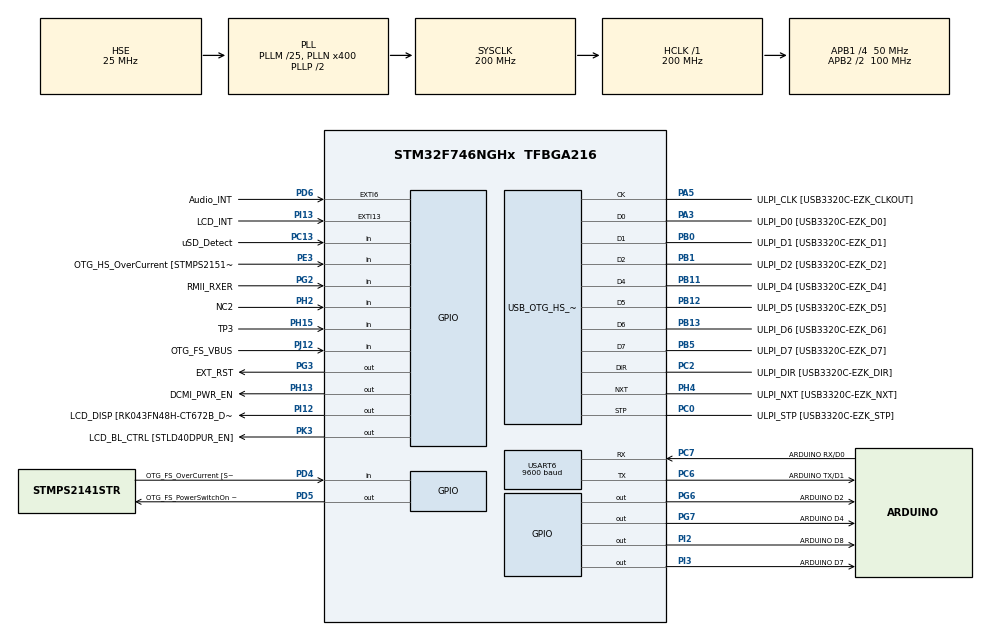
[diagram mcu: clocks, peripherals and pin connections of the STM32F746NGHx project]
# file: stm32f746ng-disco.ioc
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Mcu.Family=STM32F7
Mcu.Name=STM32F746NGHx
Mcu.Package=TFBGA216
NVIC.PriorityGroup=NVIC_PRIORITYGROUP_4
NVIC.TIM3_IRQn=true\:0\:0\:false\:false\:true\:true\:true\:true
NVIC.USART6_IRQn=true\:0\:0\:false\:false\:true\:true\:true\:true
PA0/WKUP.GPIO_Label=ARDUINO A0
PA0/WKUP.GPIO_Mode=GPIO_MODE_ANALOG
PA0/WKUP.GPIO_PuPd=GPIO_NOPULL
PA0/WKUP.Signal=ADCx_IN0
PA1.GPIO_Label=RMII_REF_CLK [LAN8742A-CZ-TR_REFCLK0]
PA1.Signal=ETH_REF_CLK
PA10.GPIO_Label=OTG_FS_ID
PA10.Signal=USB_OTG_FS_ID
PA11.GPIO_Label=OTG_FS_N
PA11.Signal=USB_OTG_FS_DM
PA12.GPIO_Label=OTG_FS_P
PA12.Signal=USB_OTG_FS_DP
PA13.GPIO_Label=SWDIO
PA13.Mode=Serial_Wire
PA13.Signal=SYS_JTMS-SWDIO
PA14.GPIO_Label=SWCLK
PA14.Mode=Serial_Wire
PA14.Signal=SYS_JTCK-SWCLK
PA15.GPIO_Label=ARDUINO PWM/D9
PA15.GPIO_ModeDefaultPP=GPIO_MODE_AF_PP
PA15.GPIO_PuPd=GPIO_NOPULL
PA15.GPIO_Speed=GPIO_SPEED_FREQ_LOW
PA15.Signal=S_TIM2_CH1_ETR
PA2.GPIO_Label=RMII_MDIO [LAN8742A-CZ-TR_MDIO]
PA2.Signal=ETH_MDIO
PA3.GPIO_Label=ULPI_D0 [USB3320C-EZK_D0]
PA3.Mode=Host_HS
PA3.Signal=USB_OTG_HS_ULPI_D0
PA4.GPIO_Label=DCMI_HSYNC
PA4.Signal=DCMI_HSYNC
PA5.GPIO_Label=ULPI_CLK [USB3320C-EZK_CLKOUT]
PA5.Mode=Host_HS
PA5.Signal=USB_OTG_HS_ULPI_CK
PA6.Signal=DCMI_PIXCLK
PA7.GPIO_Label=RMII_CRS_DV [LAN8742A-CZ-TR_CRS_DV]
PA7.Signal=ETH_CRS_DV
PA8.GPIO_Label=ARDUINO PWM/D10
PA8.GPIO_ModeDefaultPP=GPIO_MODE_AF_PP
PA8.GPIO_PuPd=GPIO_NOPULL
PA8.GPIO_Speed=GPIO_SPEED_FREQ_LOW
PA8.Signal=S_TIM1_CH1
PA9.GPIO_Label=VCP_TX [STM32F103CBT6_PA3]
PA9.GPIO_Mode=GPIO_MODE_AF_PP
PA9.GPIO_PuPd=GPIO_NOPULL
PA9.GPIO_Speed=GPIO_SPEED_FREQ_LOW
PA9.Signal=USART1_TX
PB0.GPIO_Label=ULPI_D1 [USB3320C-EZK_D1]
PB0.Mode=Host_HS
PB0.Signal=USB_OTG_HS_ULPI_D1
PB1.GPIO_Label=ULPI_D2 [USB3320C-EZK_D2]
PB1.Mode=Host_HS
PB1.Signal=USB_OTG_HS_ULPI_D2
PB10.GPIO_Label=ULPI_D3 [USB3320C-EZK_D3]
PB10.Signal=USB_OTG_HS_ULPI_D3
PB11.GPIO_Label=ULPI_D4 [USB3320C-EZK_D4]
PB11.Mode=Host_HS
PB11.Signal=USB_OTG_HS_ULPI_D4
PB12.GPIO_Label=ULPI_D5 [USB3320C-EZK_D5]
PB12.Mode=Host_HS
PB12.Signal=USB_OTG_HS_ULPI_D5
PB13.GPIO_Label=ULPI_D6 [USB3320C-EZK_D6]
PB13.Mode=Host_HS
PB13.Signal=USB_OTG_HS_ULPI_D6
PB14.GPIO_Label=ARDUINO MISO/D12
PB14.GPIO_Mode=GPIO_MODE_AF_PP
PB14.GPIO_PuPd=GPIO_NOPULL
PB14.GPIO_Speed=GPIO_SPEED_FREQ_LOW
PB14.Signal=SPI2_MISO
PB15.GPIO_Label=ARDUINO MOSI/PWM/D11
PB15.GPIO_Mode=GPIO_MODE_AF_PP
PB15.GPIO_PuPd=GPIO_NOPULL
PB15.GPIO_Speed=GPIO_SPEED_FREQ_LOW
PB15.Signal=SPI2_MOSI
PB2.Signal=QUADSPI_CLK
PB3.GPIO_Label=SWO
PB3.Signal=SYS_JTDO-SWO
PB4.GPIO_Label=ARDUINO PWM/D3
PB4.GPIO_ModeDefaultPP=GPIO_MODE_AF_PP
PB4.GPIO_PuPd=GPIO_NOPULL
PB4.GPIO_Speed=GPIO_SPEED_FREQ_LOW
PB4.Signal=S_TIM3_CH1
PB5.GPIO_Label=ULPI_D7 [USB3320C-EZK_D7]
PB5.Mode=Host_HS
PB5.Signal=USB_OTG_HS_ULPI_D7
PB6.GPIO_Label=QSPI_NCS [N25Q128A13EF840E_S]
PB6.Signal=QUADSPI_BK1_NCS
PB7.GPIO_Label=VCP_RX [STM32F103CBT6_PA2]
PB7.GPIO_Mode=GPIO_MODE_AF_PP
PB7.GPIO_PuPd=GPIO_NOPULL
PB7.GPIO_Speed=GPIO_SPEED_FREQ_LOW
PB7.Signal=USART1_RX
PB8.GPIO_Label=ARDUINO SCL/D15
PB8.GPIO_Mode=GPIO_MODE_AF_OD
PB8.GPIO_Pu=GPIO_PULLUP
PB8.GPIO_PuPd=GPIO_NOPULL
PB8.GPIO_Speed=GPIO_SPEED_FREQ_LOW
PB8.Signal=I2C1_SCL
PB9.GPIO_Label=ARDUINO SDA/D14
PB9.GPIO_Mode=GPIO_MODE_AF_OD
PB9.GPIO_Pu=GPIO_PULLUP
PB9.GPIO_PuPd=GPIO_NOPULL
PB9.GPIO_Speed=GPIO_SPEED_FREQ_LOW
PB9.Signal=I2C1_SDA
PC0.GPIO_Label=ULPI_STP [USB3320C-EZK_STP]
PC0.Mode=Host_HS
PC0.Signal=USB_OTG_HS_ULPI_STP
PC1.GPIO_Label=RMII_MDC [LAN8742A-CZ-TR_MDC]
PC1.Signal=ETH_MDC
PC10.GPIO_Label=SDMMC_D2
PC10.Signal=SDMMC1_D2
PC11.GPIO_Label=SDMMC_D3
PC11.Signal=SDMMC1_D3
PC12.GPIO_Label=SDMMC_CK
PC12.Signal=SDMMC1_CK
PC13.GPIO_Label=uSD_Detect
PC13.Signal=GPIO_Input
PC14/OSC32_IN.GPIO_Label=RCC_OSC32_IN
PC14/OSC32_IN.Mode=LSE-External-Oscillator
PC14/OSC32_IN.Signal=RCC_OSC32_IN
PC15/OSC32_OUT.GPIO_Label=RCC_OSC32_OUT
PC15/OSC32_OUT.Mode=LSE-External-Oscillator
PC15/OSC32_OUT.Signal=RCC_OSC32_OUT
PC2.GPIO_Label=ULPI_DIR [USB3320C-EZK_DIR]
PC2.Mode=Host_HS
PC2.Signal=USB_OTG_HS_ULPI_DIR
PC3.GPIO_Label=FMC_SDCKE0 [MT48LC4M32B2B5-6A_CKE]
PC3.Signal=FMC_SDCKE0
PC4.GPIO_Label=RMII_RXD0 [LAN8742A-CZ-TR_RXD0]
PC4.Signal=ETH_RXD0
PC5.GPIO_Label=RMII_RXD1 [LAN8742A-CZ-TR_RXD1]
PC5.Signal=ETH_RXD1
PC6.GPIO_Label=ARDUINO TX/D1
PC6.Mode=Asynchronous
PC6.Signal=USART6_TX
PC7.GPIO_Label=ARDUINO RX/D0
PC7.Mode=Asynchronous
PC7.Signal=USART6_RX
PC8.Signal=SDMMC1_D0
PC9.Signal=SDMMC1_D1
PD0.GPIO_Label=FMC_D2 [MT48LC4M32B2B5-6A_DQ2]
PD0.Signal=FMC_D2_DA2
PD1.GPIO_Label=FMC_D3 [MT48LC4M32B2B5-6A_DQ3]
PD1.Signal=FMC_D3_DA3
PD10.GPIO_Label=FMC_D15 [MT48LC4M32B2B5-6A_DQ15]
PD10.Signal=FMC_D15_DA15
PD11.GPIO_Label=QSPI_D0 [N25Q128A13EF840E_DQ0]
PD11.Signal=QUADSPI_BK1_IO0
PD12.GPIO_Label=QSPI_D1 [N25Q128A13EF840E_DQ1]
PD12.Signal=QUADSPI_BK1_IO1
PD13.GPIO_Label=QSPI_D3 [N25Q128A13EF840E_DQ3]
PD13.Signal=QUADSPI_BK1_IO3
PD14.GPIO_Label=FMC_D0 [MT48LC4M32B2B5-6A_DQ0]
PD14.Signal=FMC_D0_DA0
PD15.GPIO_Label=FMC_D1 [MT48LC4M32B2B5-6A_DQ1]
PD15.Signal=FMC_D1_DA1
PD2.GPIO_Label=SDMMC_CMD
PD2.Signal=SDMMC1_CMD
PD3.GPIO_Label=DCMI_D5
PD3.Signal=DCMI_D5
PD4.GPIO_Label=OTG_FS_OverCurrent [STMPS2141STR_Fault]
PD4.Signal=GPIO_Input
PD5.GPIO_Label=OTG_FS_PowerSwitchOn [STMPS2141STR_EN]
PD5.PinState=GPIO_PIN_SET
PD5.Signal=GPIO_Output
PD6.GPIO_Label=Audio_INT
PD6.GPIO_ModeDefaultEXTI=GPIO_MODE_EVT_RISING
PD6.Signal=GPXTI6
PD7.GPIO_Label=SPDIF_RX0 [74LVC1G04SE_4]
PD7.Signal=SPDIFRX_IN0
PD8.GPIO_Label=FMC_D13 [MT48LC4M32B2B5-6A_DQ13]
PD8.Signal=FMC_D13_DA13
PD9.GPIO_Label=FMC_D14 [MT48LC4M32B2B5-6A_DQ14]
PD9.Signal=FMC_D14_DA14
PE0.GPIO_Label=FMC_NBL0 [MT48LC4M32B2B5-6A_DQM0]
PE0.Signal=FMC_NBL0
PE1.GPIO_Label=FMC_NBL1 [MT48LC4M32B2B5-6A_DQM1]
PE1.Signal=FMC_NBL1
PE10.GPIO_Label=FMC_D7 [MT48LC4M32B2B5-6A_DQ7]
PE10.Signal=FMC_D7_DA7
PE11.GPIO_Label=FMC_D8 [MT48LC4M32B2B5-6A_DQ8]
PE11.Signal=FMC_D8_DA8
PE12.GPIO_Label=FMC_D9 [MT48LC4M32B2B5-6A_DQ9]
PE12.Signal=FMC_D9_DA9
PE13.GPIO_Label=FMC_D10 [MT48LC4M32B2B5-6A_DQ10]
PE13.Signal=FMC_D10_DA10
PE14.GPIO_Label=FMC_D11 [MT48LC4M32B2B5-6A_DQ11]
PE14.Signal=FMC_D11_DA11
PE15.GPIO_Label=FMC_D12 [MT48LC4M32B2B5-6A_DQ12]
PE15.Signal=FMC_D12_DA12
PE2.GPIO_Label=QSPI_D2 [N25Q128A13EF840E_DQ2]
PE2.Signal=QUADSPI_BK1_IO2
PE3.GPIO_Label=OTG_HS_OverCurrent [STMPS2151STR_FAULT]
PE3.Signal=GPIO_Input
PE4.GPIO_Label=LCD_B0 [RK043FN48H-CT672B_B0]
PE4.Signal=LTDC_B0
PE5.GPIO_Label=DCMI_D6
PE5.Signal=DCMI_D6
PE6.GPIO_Label=DCMI_D7
PE6.Signal=DCMI_D7
PE7.GPIO_Label=FMC_D4 [MT48LC4M32B2B5-6A_DQ4]
PE7.Signal=FMC_D4_DA4
PE8.GPIO_Label=FMC_D5 [MT48LC4M32B2B5-6A_DQ5]
PE8.Signal=FMC_D5_DA5
PE9.GPIO_Label=FMC_D6 [MT48LC4M32B2B5-6A_DQ6]
PE9.Signal=FMC_D6_DA6
PF0.GPIO_Label=FMC_A0 [MT48LC4M32B2B5-6A_A0]
PF0.Signal=FMC_A0
PF1.GPIO_Label=FMC_A1 [MT48LC4M32B2B5-6A_A1]
PF1.Signal=FMC_A1
PF10.GPIO_Label=ARDUINO A1
PF10.GPIO_Mode=GPIO_MODE_ANALOG
PF10.GPIO_PuPd=GPIO_NOPULL
PF10.Signal=ADC3_IN8
PF11.GPIO_Label=FMC_SDNRAS [MT48LC4M32B2B5-6A_RAS]
PF11.Signal=FMC_SDNRAS
PF12.GPIO_Label=FMC_A6 [MT48LC4M32B2B5-6A_A6]
PF12.Signal=FMC_A6
PF13.GPIO_Label=FMC_A7 [MT48LC4M32B2B5-6A_A7]
PF13.Signal=FMC_A7
PF14.GPIO_Label=FMC_A8 [MT48LC4M32B2B5-6A_A8]
PF14.Signal=FMC_A8
PF15.GPIO_Label=FMC_A9 [MT48LC4M32B2B5-6A_A9]
PF15.Signal=FMC_A9
PF2.GPIO_Label=FMC_A2 [MT48LC4M32B2B5-6A_A2]
PF2.Signal=FMC_A2
PF3.GPIO_Label=FMC_A3 [MT48LC4M32B2B5-6A_A3]
PF3.Signal=FMC_A3
PF4.GPIO_Label=FMC_A4 [MT48LC4M32B2B5-6A_A4]
PF4.Signal=FMC_A4
PF5.GPIO_Label=FMC_A5 [MT48LC4M32B2B5-6A_A5]
PF5.Signal=FMC_A5
PF6.GPIO_Label=ARDUINO A5
PF6.GPIO_Mode=GPIO_MODE_ANALOG
PF6.GPIO_PuPd=GPIO_NOPULL
PF6.Signal=ADC3_IN4
PF7.GPIO_Label=ARDUINO A4
PF7.GPIO_Mode=GPIO_MODE_ANALOG
PF7.GPIO_PuPd=GPIO_NOPULL
PF7.Signal=ADC3_IN5
PF8.GPIO_Label=ARDUINO A3
PF8.GPIO_Mode=GPIO_MODE_ANALOG
PF8.GPIO_PuPd=GPIO_NOPULL
PF8.Signal=ADC3_IN6
PF9.GPIO_Label=ARDUINO A2
PF9.GPIO_Mode=GPIO_MODE_ANALOG
PF9.GPIO_PuPd=GPIO_NOPULL
PF9.Signal=ADC3_IN7
PG0.GPIO_Label=FMC_A10 [MT48LC4M32B2B5-6A_A10]
PG0.Signal=FMC_A10
PG1.GPIO_Label=FMC_A11 [MT48LC4M32B2B5-6A_A11]
PG1.Signal=FMC_A11
PG10.GPIO_Label=SAI2_SDB [WM8994ECS/R_ADCDAT1]
PG10.Signal=SAI2_SD_B
PG11.GPIO_Label=RMII_TX_EN [LAN8742A-CZ-TR_TXEN]
PG11.Signal=ETH_TX_EN
PG12.GPIO_Label=LCD_B4 [RK043FN48H-CT672B_B4]
PG12.Signal=LTDC_B4
PG13.GPIO_Label=RMII_TXD0 [LAN8742A-CZ-TR_TXD0]
PG13.Signal=ETH_TXD0
PG14.GPIO_Label=RMII_TXD1 [LAN8742A-CZ-TR_TXD1]
PG14.Signal=ETH_TXD1
PG15.GPIO_Label=FMC_SDNCAS [MT48LC4M32B2B5-6A_CAS]
PG15.Signal=FMC_SDNCAS
PG2.GPIO_Label=RMII_RXER
PG2.Signal=GPIO_Input
PG3.GPIO_Label=EXT_RST
PG3.Signal=GPIO_Output
PG4.GPIO_Label=FMC_BA0 [MT48LC4M32B2B5-6A_BA0]
PG4.Signal=FMC_A14_BA0
PG5.GPIO_Label=FMC_BA1 [MT48LC4M32B2B5-6A_BA1]
PG5.Signal=FMC_A15_BA1
PG6.GPIO_Label=ARDUINO D2
PG6.Signal=GPIO_Output
PG7.GPIO_Label=ARDUINO D4
PG7.Signal=GPIO_Output
PG8.GPIO_Label=FMC_SDCLK [MT48LC4M32B2B5-6A_CLK]
PG8.Signal=FMC_SDCLK
PG9.GPIO_Label=DCMI_VSYNC
PG9.Signal=DCMI_VSYNC
PH0/OSC_IN.GPIO_Label=OSC_25M [NZ2520SB-25.00M_OUT]
PH0/OSC_IN.Mode=HSE-External-Oscillator
PH0/OSC_IN.Signal=RCC_OSC_IN
PH1/OSC_OUT.Mode=HSE-External-Oscillator
PH1/OSC_OUT.Signal=RCC_OSC_OUT
PH10.GPIO_Label=DCMI_D1
PH10.Signal=DCMI_D1
PH11.GPIO_Label=DCMI_D2
PH11.Signal=DCMI_D2
PH12.GPIO_Label=DCMI_D3
PH12.Signal=DCMI_D3
PH13.GPIO_Label=DCMI_PWR_EN
PH13.Signal=GPIO_Output
PH14.GPIO_Label=DCMI_D4
PH14.Signal=DCMI_D4
PH15.GPIO_Label=TP3
PH15.Signal=GPIO_Input
PH2.GPIO_Label=NC2
PH2.Signal=GPIO_Input
PH3.GPIO_Label=FMC_SDNE0 [MT48LC4M32B2B5-6A_CS]
PH3.Signal=FMC_SDNE0
PH4.GPIO_Label=ULPI_NXT [USB3320C-EZK_NXT]
PH4.Mode=Host_HS
PH4.Signal=USB_OTG_HS_ULPI_NXT
PH5.GPIO_Label=FMC_SDNME [MT48LC4M32B2B5-6A_WE]
PH5.Signal=FMC_SDNWE
PH6.GPIO_Label=ARDUINO PWM/D6
PH6.Signal=S_TIM12_CH1
PH7.GPIO_Label=LCD_SCL [RK043FN48H-CT672B_SCL]
PH7.GPIO_Pu=GPIO_PULLUP
PH7.Signal=I2C3_SCL
PH8.GPIO_Label=LCD_SDA [RK043FN48H-CT672B_SDA]
PH8.GPIO_Pu=GPIO_PULLUP
PH8.Signal=I2C3_SDA
PH9.GPIO_Label=DCMI_D0
PH9.Signal=DCMI_D0
PI0.GPIO_Label=ARDUINO PWM/CS/D5
PI0.GPIO_ModeDefaultPP=GPIO_MODE_AF_PP
PI0.GPIO_PuPd=GPIO_NOPULL
PI0.GPIO_Speed=GPIO_SPEED_FREQ_LOW
PI0.Signal=S_TIM5_CH4
PI1.GPIO_Label=ARDUINO SCK/D13
PI1.GPIO_Mode=GPIO_MODE_AF_PP
PI1.GPIO_PuPd=GPIO_NOPULL
PI1.GPIO_Speed=GPIO_SPEED_FREQ_LOW
PI1.Signal=SPI2_SCK
PI10.GPIO_Label=LCD_HSYNC [RK043FN48H-CT672B_HSYNC]
PI10.Signal=LTDC_HSYNC
PI12.GPIO_Label=LCD_DISP [RK043FN48H-CT672B_DISP] 
PI12.PinState=GPIO_PIN_SET
PI12.Signal=GPIO_Output
PI13.GPIO_Label=LCD_INT
PI13.GPIO_ModeDefaultEXTI=GPIO_MODE_EVT_RISING
PI13.Signal=GPXTI13
PI14.GPIO_Label=LCD_CLK [RK043FN48H-CT672B_CLK]
PI14.Signal=LTDC_CLK
PI15.GPIO_Label=LCD_R0 [RK043FN48H-CT672B_R0]
PI15.Signal=LTDC_R0
PI2.GPIO_Label=ARDUINO D8
PI2.Signal=GPIO_Output
PI3.GPIO_Label=ARDUINO D7
PI3.Signal=GPIO_Output
PI4.GPIO_Label=SAI2_MCLKA [WM8994ECS/R_MCLK1]
PI4.Signal=SAI2_MCLK_A
PI5.GPIO_Label=SAI2_SCKA [WM8994ECS/R_BCLK1]
PI5.Signal=SAI2_SCK_A
PI6.GPIO_Label=SAI2_SDA [WM8994ECS/R_DACDAT1]
PI6.Signal=SAI2_SD_A
PI7.GPIO_Label=SAI2_FSA [WM8994ECS/R_LRCLK1]
PI7.Signal=SAI2_FS_A
PI8.GPIO_Label=NC1 [TP2]
PI8.Signal=RTC_TS
PI9.GPIO_Label=LCD_VSYNC [RK043FN48H-CT672B_VSYNC]
PI9.Signal=LTDC_VSYNC
PJ0.GPIO_Label=LCD_R1 [RK043FN48H-CT672B_R1]
PJ0.Signal=LTDC_R1
PJ1.GPIO_Label=LCD_R2 [RK043FN48H-CT672B_R2]
PJ1.Signal=LTDC_R2
PJ10.GPIO_Label=LCD_G3 [RK043FN48H-CT672B_G3]
PJ10.Signal=LTDC_G3
PJ11.GPIO_Label=LCD_G4 [RK043FN48H-CT672B_G4]
PJ11.Signal=LTDC_G4
PJ12.GPIO_Label=OTG_FS_VBUS
PJ12.Signal=GPIO_Input
PJ13.GPIO_Label=LCD_B1 [RK043FN48H-CT672B_B1]
PJ13.Signal=LTDC_B1
PJ14.GPIO_Label=LCD_B2 [RK043FN48H-CT672B_B2]
PJ14.Signal=LTDC_B2
PJ15.GPIO_Label=LCD_B3 [RK043FN48H-CT672B_B3]
PJ15.Signal=LTDC_B3
PJ2.GPIO_Label=LCD_R3 [RK043FN48H-CT672B_R3]
PJ2.Signal=LTDC_R3
PJ3.GPIO_Label=LCD_R4 [RK043FN48H-CT672B_R4]
PJ3.Signal=LTDC_R4
PJ4.GPIO_Label=LCD_R5 [RK043FN48H-CT672B_R5]
PJ4.Signal=LTDC_R5
PJ5.GPIO_Label=LCD_R6 [RK043FN48H-CT672B_R6]
PJ5.Signal=LTDC_R6
PJ6.GPIO_Label=LCD_R7 [RK043FN48H-CT672B_R7]
PJ6.Signal=LTDC_R7
PJ7.GPIO_Label=LCD_G0 [RK043FN48H-CT672B_G0]
PJ7.Signal=LTDC_G0
PJ8.GPIO_Label=LCD_G1 [RK043FN48H-CT672B_G1]
PJ8.Signal=LTDC_G1
PJ9.GPIO_Label=LCD_G2 [RK043FN48H-CT672B_G2]
PJ9.Signal=LTDC_G2
PK0.GPIO_Label=LCD_G5 [RK043FN48H-CT672B_G5]
PK0.Signal=LTDC_G5
PK1.GPIO_Label=LCD_G6 [RK043FN48H-CT672B_G6]
PK1.Signal=LTDC_G6
PK2.GPIO_Label=LCD_G7 [RK043FN48H-CT672B_G7]
PK2.Signal=LTDC_G7
PK3.GPIO_Label=LCD_BL_CTRL [STLD40DPUR_EN]
PK3.GPIO_Speed=GPIO_SPEED_FREQ_LOW
PK3.PinState=GPIO_PIN_SET
PK3.Signal=GPIO_Output
PK4.GPIO_Label=LCD_B5 [RK043FN48H-CT672B_B5]
PK4.Signal=LTDC_B5
PK5.GPIO_Label=LCD_B6 [RK043FN48H-CT672B_B6]
PK5.Signal=LTDC_B6
PK6.GPIO_Label=LCD_B7 [RK043FN48H-CT672B_B7]
PK6.Signal=LTDC_B7
PK7.GPIO_Label=LCD_DE [RK043FN48H-CT672B_DE]
PK7.Signal=LTDC_DE
ProjectManager.HeapSize=0x200
ProjectManager.StackSize=0x400
ProjectManager.TargetToolchain=STM32CubeIDE
RCC.AHBFreq_Value=200000000
RCC.APB1CLKDivider=RCC_HCLK_DIV4
RCC.APB1Freq_Value=50000000
RCC.APB1TimFreq_Value=100000000
RCC.APB2CLKDivider=RCC_HCLK_DIV2
RCC.APB2Freq_Value=100000000
RCC.APB2TimFreq_Value=200000000
RCC.CortexFreq_Value=200000000
RCC.HCLKFreq_Value=200000000
RCC.HSE_VALUE=25000000
RCC.HSI_VALUE=16000000
RCC.PLL48CLockSelection=RCC_CLK48SOURCE_PLLSAIP
RCC.PLLI2SN=100
RCC.PLLM=25
RCC.PLLN=400
RCC.PLLQ=9
RCC.PLLSAIN=384
RCC.PLLSAIP=RCC_PLLSAIP_DIV8
RCC.PLLSAIR=5
RCC.PLLSAIRDiv=RCC_PLLSAIDIVR_8
RCC.PLLSourceVirtual=RCC_PLLSOURCE_HSE
RCC.SDMMCClockSelection=RCC_SDMMC1CLKSOURCE_CLK48
RCC.SYSCLKFreq_VALUE=200000000
RCC.SYSCLKSource=RCC_SYSCLKSOURCE_PLLCLK
RCC.USBFreq_Value=48000000
RCC.VCOOutputFreq_Value=400000000
SH.ADCx_IN0.0=ADC3_IN0
SH.FMC_A0.0=FMC_A0
SH.FMC_A1.0=FMC_A1
SH.FMC_A10.0=FMC_A10
SH.FMC_A11.0=FMC_A11
SH.FMC_A14_BA0.0=FMC_BA0
SH.FMC_A15_BA1.0=FMC_BA1
SH.FMC_A2.0=FMC_A2
SH.FMC_A3.0=FMC_A3
SH.FMC_A4.0=FMC_A4
SH.FMC_A5.0=FMC_A5
SH.FMC_A6.0=FMC_A6
SH.FMC_A7.0=FMC_A7
SH.FMC_A8.0=FMC_A8
SH.FMC_A9.0=FMC_A9
SH.FMC_D0_DA0.0=FMC_D0
SH.FMC_D10_DA10.0=FMC_D10
SH.FMC_D11_DA11.0=FMC_D11
SH.FMC_D12_DA12.0=FMC_D12
SH.FMC_D13_DA13.0=FMC_D13
SH.FMC_D14_DA14.0=FMC_D14
SH.FMC_D15_DA15.0=FMC_D15
SH.FMC_D1_DA1.0=FMC_D1
SH.FMC_D2_DA2.0=FMC_D2
SH.FMC_D3_DA3.0=FMC_D3
SH.FMC_D4_DA4.0=FMC_D4
SH.FMC_D5_DA5.0=FMC_D5
SH.FMC_D6_DA6.0=FMC_D6
SH.FMC_D7_DA7.0=FMC_D7
SH.FMC_D8_DA8.0=FMC_D8
SH.FMC_D9_DA9.0=FMC_D9
SH.FMC_NBL0.0=FMC_NBL0
SH.FMC_NBL1.0=FMC_NBL1
SH.FMC_SDCLK.0=FMC_SDCLK
SH.FMC_SDNCAS.0=FMC_SDNCAS
SH.FMC_SDNRAS.0=FMC_SDNRAS
SH.FMC_SDNWE.0=FMC_SDNWE
SH.S_TIM12_CH1.0=TIM12_CH1
SH.S_TIM1_CH1.0=TIM1_CH1
SH.S_TIM2_CH1_ETR.0=TIM2_CH1
SH.S_TIM3_CH1.0=TIM3_CH1
SH.S_TIM5_CH4.0=TIM5_CH4
TIM3.AutoReloadPreload=TIM_AUTORELOAD_PRELOAD_DISABLE
TIM3.Period=2917-1
TIM3.Prescaler=100-1
USART6.BaudRate=9600
USART6.VirtualMode-Asynchronous=VM_ASYNC
VP_TIM3_VS_ClockSourceINT.Mode=Internal
board=STM32F746G-DISCO

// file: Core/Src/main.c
/* USER CODE BEGIN Header */
/**
  ******************************************************************************
  * @file           : main.c
  * @brief          : Main program body
  ******************************************************************************
  * @attention
  *
  * Copyright (c) 2022 STMicroelectronics.
  * All rights reserved.
  *
  * This software is licensed under terms that can be found in the LICENSE file
  * in the root directory of this software component.
  * If no LICENSE file comes with this software, it is provided AS-IS.
  *
  ******************************************************************************
  */
/* USER CODE END Header */
#include "main.h"
#include "tim.h"
#include "usart.h"
#include "gpio.h"

/* USER CODE BEGIN Includes */
#include "../../lib/bsp_mb_slave.h"
/* USER CODE END Includes */

void SystemClock_Config(void);

/* USER CODE BEGIN 0 */
//extern void mb_test_timer_uart(void);
//extern void mb_test_send(void);
/* USER CODE END 0 */

int main(void)
{

  /* MCU Configuration--------------------------------------------------------*/

  /* Reset of all peripherals, Initializes the Flash interface and the Systick. */
  HAL_Init();

  /* Configure the system clock */
  SystemClock_Config();

  /* Initialize all configured peripherals */
  MX_GPIO_Init();
  MX_USART6_UART_Init();
  MX_TIM3_Init();
  /* USER CODE BEGIN 2 */

	bsp_mb_slave_init();

	// Update coil status
	bsp_mb_coil_set(0, 1);
	bsp_mb_coil_set(1, 0);
	bsp_mb_coil_set(2, 1);
	bsp_mb_coil_set(3, 0);

	// Update input register
	bsp_mb_discrete_input_set(0, 0);
	bsp_mb_discrete_input_set(0, 1);
	bsp_mb_discrete_input_set(0, 0);
	bsp_mb_discrete_input_set(0, 1);

	// Update input register
	bsp_mb_input_reg_set(0, 1);
	bsp_mb_input_reg_set(1, 2);
	bsp_mb_input_reg_set(2, 3);
	bsp_mb_input_reg_set(3, 4);

	// Update holding register
	bsp_mb_holding_reg_set(0, 5);
	bsp_mb_holding_reg_set(1, 6);
	bsp_mb_holding_reg_set(2, 7);
	bsp_mb_holding_reg_set(3, 8);

  /* USER CODE END 2 */

  /* Infinite loop */
  /* USER CODE BEGIN WHILE */
  while (1)
  {
	  bsp_mb_slave_handle();
    /* USER CODE END WHILE */

  }
}

void SystemClock_Config(void)
{
  RCC_OscInitTypeDef RCC_OscInitStruct = {0};
  RCC_ClkInitTypeDef RCC_ClkInitStruct = {0};

  /** Configure LSE Drive Capability
  */
  HAL_PWR_EnableBkUpAccess();
  /** Configure the main internal regulator output voltage
  */
  __HAL_RCC_PWR_CLK_ENABLE();
  __HAL_PWR_VOLTAGESCALING_CONFIG(PWR_REGULATOR_VOLTAGE_SCALE1);
  /** Initializes the RCC Oscillators according to the specified parameters
  * in the RCC_OscInitTypeDef structure.
  */
  RCC_OscInitStruct.OscillatorType = RCC_OSCILLATORTYPE_HSE;
  RCC_OscInitStruct.HSEState = RCC_HSE_ON;
  RCC_OscInitStruct.PLL.PLLState = RCC_PLL_ON;
  RCC_OscInitStruct.PLL.PLLSource = RCC_PLLSOURCE_HSE;
  RCC_OscInitStruct.PLL.PLLM = 25;
  RCC_OscInitStruct.PLL.PLLN = 400;
  RCC_OscInitStruct.PLL.PLLP = RCC_PLLP_DIV2;
  RCC_OscInitStruct.PLL.PLLQ = 9;
  if (HAL_RCC_OscConfig(&RCC_OscInitStruct) != HAL_OK)
  {
    Error_Handler();
  }
  /** Activate the Over-Drive mode
  */
  if (HAL_PWREx_EnableOverDrive() != HAL_OK)
  {
    Error_Handler();
  }
  /** Initializes the CPU, AHB and APB buses clocks
  */
  RCC_ClkInitStruct.ClockType = RCC_CLOCKTYPE_HCLK|RCC_CLOCKTYPE_SYSCLK
                              |RCC_CLOCKTYPE_PCLK1|RCC_CLOCKTYPE_PCLK2;
  RCC_ClkInitStruct.SYSCLKSource = RCC_SYSCLKSOURCE_PLLCLK;
  RCC_ClkInitStruct.AHBCLKDivider = RCC_SYSCLK_DIV1;
  RCC_ClkInitStruct.APB1CLKDivider = RCC_HCLK_DIV4;
  RCC_ClkInitStruct.APB2CLKDivider = RCC_HCLK_DIV2;

  if (HAL_RCC_ClockConfig(&RCC_ClkInitStruct, FLASH_LATENCY_6) != HAL_OK)
  {
    Error_Handler();
  }
}

void Error_Handler(void)
{
  __disable_irq();
  while (1)
  {
  }
}
